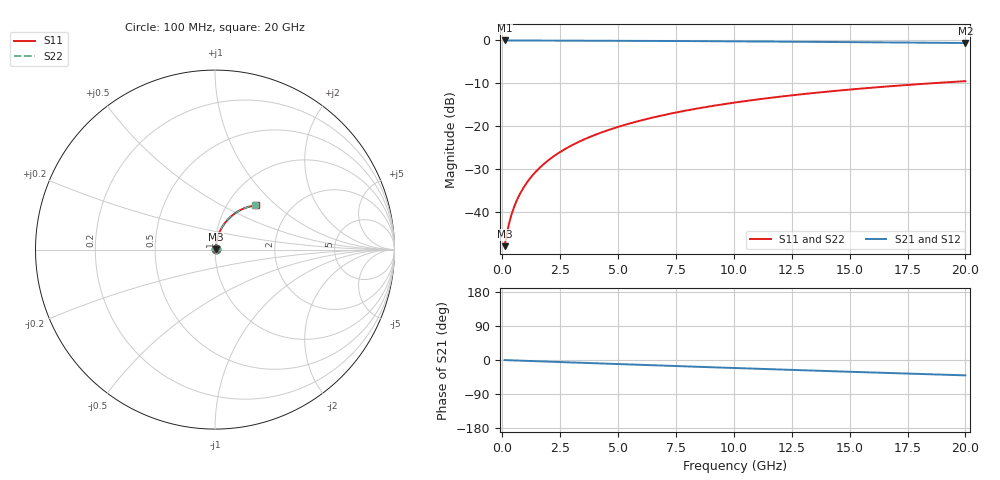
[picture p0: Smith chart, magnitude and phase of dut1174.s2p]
! Touchstone file exported from HFSS 2026.1.0
!  File:  C:/ffzhzh/LocalFiles/Ansys_Project_Files/temp_train_BSMRDL_1174_1783176028_51560.aedt
!  Generated:  10:41:41 PM Jul  4, 2026
!  Design:  BSMRDL
!  Project:  temp_train_BSMRDL_1174_1783176028_51560
! Variables:
!  h_bsmrdl = 3.23um
!  h_ox = 20um
!  h_rdl = 5um
!  h_sub = 80um
!  h_tmrdl = 5um
!  h_tsv = 80um
!  h_via = 3um
!  l_bsmrdl = 612.6um
!  l_sub = 1012.6um
!  l_tmrdl = 200um
!  m_sub = 200um
!  pitch = 42.49um
!  r_tsv = 6um
!  s_tmrdl = 10um
!  w_bsmrdl = 22.02um
!  w_sub = 500um
!  w_tmrdl = 12um
!  x_tsv_center1 = 206um
!  x_tsv_center2 = 840.62um
!  x_tsv_center3 = 1052.62um
!  x_tsv_center4 = 1687.24um
!  x_tsv_center5 = 1899.24um
!  x_tsv_center6 = 2533.86um
# GHz S MA R 50.000000
! Terminal data exported
! Port[1] = BSM_RDL1_1_T1
! Port[2] = BSM_RDL1_1_T2
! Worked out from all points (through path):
!   200 points, 100 MHz to 20 GHz, reference 50 ohm
!   highest |S21| = -0.03 dB at 100 MHz (marker M1); lowest = -0.6 dB at 20 GHz (marker M2)
!   group delay of S21, straight-line fit = 5.63 ps
!   lowest |S11| = -48.0 dB at 100 MHz (marker M3), VSWR 1.01, Z = 50.3 + j0.225 ohm
!   |S11| at or under -10 dB: start of sweep to 18.6 GHz
!   |S22| runs from -48.0 to -9.5 dB; largest |S21 - S12| = 4.4e-15
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0.1  0.003966 34.3  0.9967 -0.2  0.9967 -0.2  0.003966 34.3
! Gamma 0 0 0 0
! Port Impedance 50 0 50 0
0.2  0.005593 51.8  0.9966 -0.5  0.9966 -0.5  0.005593 51.8
0.3  0.007438 60.3  0.9964 -0.7  0.9964 -0.7  0.007438 60.3
0.4  0.009317 65.3  0.9962 -0.9  0.9962 -0.9  0.009317 65.3
0.5  0.0112 68.5  0.996 -1.1  0.996 -1.1  0.0112 68.5
0.6  0.01308 70.8  0.9959 -1.3  0.9959 -1.3  0.01308 70.8
0.8  0.01687 74.0  0.9957 -1.8  0.9957 -1.8  0.01687 74.0
1.1  0.02261 76.6  0.9955 -2.4  0.9955 -2.4  0.02261 76.6
1.3  0.02647 77.7  0.9953 -2.8  0.9953 -2.8  0.02647 77.7
1.6  0.03229 78.6  0.995 -3.5  0.995 -3.5  0.03229 78.6
2.1  0.04202 79.1  0.9945 -4.5  0.9945 -4.5  0.04202 79.1
2.7  0.0537 79.0  0.9937 -5.8  0.9937 -5.8  0.0537 79.0
3.5  0.06918 78.1  0.9924 -7.5  0.9924 -7.5  0.06918 78.2
4.2  0.0826 77.1  0.9911 -9.0  0.9911 -9.0  0.0826 77.1
5  0.09777 75.8  0.9893 -10.7  0.9893 -10.7  0.09777 75.8
5.9  0.1146 74.1  0.987 -12.6  0.987 -12.6  0.1146 74.1
6.8  0.1311 72.4  0.9844 -14.5  0.9844 -14.5  0.1311 72.5
8.3  0.158 69.5  0.9797 -17.6  0.9797 -17.6  0.158 69.6
10.1  0.189 66.1  0.9733 -21.3  0.9733 -21.3  0.189 66.1
13.4  0.2423 59.7  0.9602 -27.9  0.9602 -27.9  0.2423 59.7
16.7  0.2907 53.5  0.9458 -34.3  0.9458 -34.3  0.2907 53.5
20  0.334 47.5  0.9309 -40.5  0.9309 -40.5  0.334 47.5
